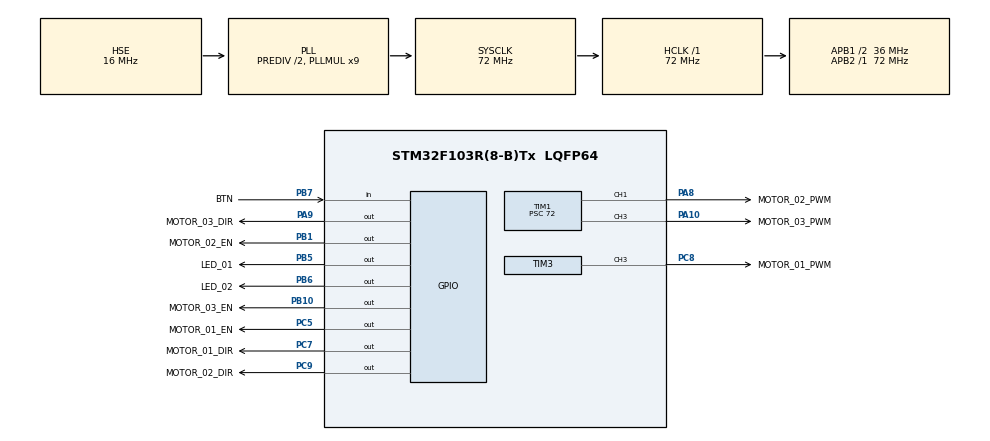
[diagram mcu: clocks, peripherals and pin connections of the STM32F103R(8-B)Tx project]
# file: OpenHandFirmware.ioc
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FREERTOS.Tasks01=hand_control,24,128,hand_control_function,Default,NULL,Dynamic,NULL,NULL;system_health,8,128,system_health_function,Default,NULL,Dynamic,NULL,NULL
FREERTOS.configUSE_NEWLIB_REENTRANT=1
Mcu.Family=STM32F1
Mcu.Name=STM32F103R(8-B)Tx
Mcu.Package=LQFP64
NVIC.PriorityGroup=NVIC_PRIORITYGROUP_4
NVIC.TIM4_IRQn=true\:15\:0\:false\:false\:true\:false\:false\:true\:true
NVIC.TimeBase=TIM4_IRQn
NVIC.TimeBaseIP=TIM4
PA10.GPIO_Label=MOTOR_03_PWM
PA10.Signal=S_TIM1_CH3
PA13.Mode=Serial_Wire
PA13.Signal=SYS_JTMS-SWDIO
PA14.Mode=Serial_Wire
PA14.Signal=SYS_JTCK-SWCLK
PA8.GPIO_Label=MOTOR_02_PWM
PA8.Signal=S_TIM1_CH1
PA9.GPIO_Label=MOTOR_03_DIR
PA9.Signal=GPIO_Output
PB1.GPIO_Label=MOTOR_02_EN
PB1.Signal=GPIO_Output
PB10.GPIO_Label=MOTOR_03_EN
PB10.Signal=GPIO_Output
PB5.GPIO_Label=LED_01
PB5.Signal=GPIO_Output
PB6.GPIO_Label=LED_02
PB6.Signal=GPIO_Output
PB7.GPIO_Label=BTN
PB7.Signal=GPIO_Input
PC5.GPIO_Label=MOTOR_01_EN
PC5.Signal=GPIO_Output
PC7.GPIO_Label=MOTOR_01_DIR
PC7.Signal=GPIO_Output
PC8.GPIO_Label=MOTOR_01_PWM
PC8.Signal=S_TIM3_CH3
PC9.GPIO_Label=MOTOR_02_DIR
PC9.Signal=GPIO_Output
PD0-OSC_IN.Mode=HSE-External-Oscillator
PD0-OSC_IN.Signal=RCC_OSC_IN
PD1-OSC_OUT.Mode=HSE-External-Oscillator
PD1-OSC_OUT.Signal=RCC_OSC_OUT
ProjectManager.HeapSize=0x200
ProjectManager.StackSize=0x400
ProjectManager.TargetToolchain=STM32CubeIDE
RCC.ADCPresc=RCC_ADCPCLK2_DIV6
RCC.AHBFreq_Value=72000000
RCC.APB1CLKDivider=RCC_HCLK_DIV2
RCC.APB1Freq_Value=36000000
RCC.APB1TimFreq_Value=72000000
RCC.APB2Freq_Value=72000000
RCC.APB2TimFreq_Value=72000000
RCC.HCLKFreq_Value=72000000
RCC.HSEDivPLL=RCC_HSE_PREDIV_DIV2
RCC.HSE_VALUE=16000000
RCC.PLLMUL=RCC_PLL_MUL9
RCC.PLLSourceVirtual=RCC_PLLSOURCE_HSE
RCC.SYSCLKFreq_VALUE=72000000
RCC.SYSCLKSource=RCC_SYSCLKSOURCE_PLLCLK
RCC.USBFreq_Value=48000000
RCC.USBPrescaler=RCC_USBCLKSOURCE_PLL_DIV1_5
SH.S_TIM1_CH1.0=TIM1_CH1,PWM Generation1 CH1
SH.S_TIM1_CH3.0=TIM1_CH3,PWM Generation3 CH3
SH.S_TIM3_CH3.0=TIM3_CH3,PWM Generation3 CH3
TIM1.AutoReloadPreload=TIM_AUTORELOAD_PRELOAD_DISABLE
TIM1.Channel-PWM\ Generation1\ CH1=TIM_CHANNEL_1
TIM1.Channel-PWM\ Generation3\ CH3=TIM_CHANNEL_3
TIM1.Period=20-1
TIM1.Prescaler=72
TIM3.AutoReloadPreload=TIM_AUTORELOAD_PRELOAD_DISABLE
TIM3.Channel-PWM\ Generation3\ CH3=TIM_CHANNEL_3
TIM3.Period=20-1
TIM3.Prescaler=72
VP_FREERTOS_VS_CMSIS_V2.Mode=CMSIS_V2
VP_SYS_VS_tim4.Mode=TIM4
board=custom

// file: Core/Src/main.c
/* USER CODE BEGIN Header */
/**
  ******************************************************************************
  * @file           : main.c
  * @brief          : Main program body
  ******************************************************************************
  * @attention
  *
  * Copyright (c) 2024 STMicroelectronics.
  * All rights reserved.
  *
  * This software is licensed under terms that can be found in the LICENSE file
  * in the root directory of this software component.
  * If no LICENSE file comes with this software, it is provided AS-IS.
  *
  ******************************************************************************
  */
/* USER CODE END Header */
#include "main.h"
#include "cmsis_os.h"

/* USER CODE BEGIN Includes */
#include "led/led_e.h"
#include "btn/btn_e.h"
// #include "motor_e.h"...
/* USER CODE END Includes */

TIM_HandleTypeDef htim1;
TIM_HandleTypeDef htim3;

/* Definitions for hand_control */
osThreadId_t hand_controlHandle;
const osThreadAttr_t hand_control_attributes = {
  .name = "hand_control",
  .stack_size = 128 * 4,
  .priority = (osPriority_t) osPriorityNormal,
};
/* Definitions for system_health */
osThreadId_t system_healthHandle;
const osThreadAttr_t system_health_attributes = {
  .name = "system_health",
  .stack_size = 128 * 4,
  .priority = (osPriority_t) osPriorityLow,
};
/* USER CODE BEGIN PV */

// ADC stuff
volatile uint16_t adcResultsDMA[64][8]; // 64 measurements per channel, 8 channels
const int adcChannelCount = sizeof(adcResultsDMA) / sizeof(uint16_t);
volatile int adcConversionComplete = 0; // Set by callback

// Mode handling stuff
uint32_t my_mode = 0; // 0 for button activation, 1 for EMG sensor activation

// Our ADC inputs
uint32_t my_pot_1 = 0;
uint32_t my_pot_2 = 0;
uint32_t my_emg_1 = 0;
uint32_t my_emg_2 = 0;
uint32_t my_batt = 0;
uint32_t my_hall_1 = 0;
uint32_t my_hall_2 = 0;
uint32_t my_hall_3 = 0;

double my_batt_volt = 0;
uint32_t my_emg_1_max = 0;

// Finger hall sensor calibration output:
uint16_t my_calibration[] = {
  2024, 1889,
  2026, 1888,
  2024, 1890,
  2024, 1887,
  2023, 1883,
  2022, 1878,
  2021, 1875,
  2019, 1868,
  2019, 1863,
  2019, 1857,
  2017, 1850,
  2016, 1840,
  2015, 1830,
  2014, 1818,
  2012, 1806,
  2010, 1794,
  2008, 1783,
  2007, 1768,
  2006, 1755,
  2005, 1739,
  2001, 1724,
  2000, 1708,
  1996, 1690,
  1995, 1675,
  1994, 1655,
  1992, 1635,
  1989, 1614,
  1987, 1592,
  1984, 1574,
  1982, 1550,
  1978, 1525,
  1975, 1502,
  1974, 1479,
  1971, 1453,
  1968, 1429,
  1966, 1407,
  1962, 1379,
  1959, 1354,
  1955, 1328,
  1952, 1307,
  1948, 1288,
  1945, 1269,
  1939, 1256,
  1936, 1248,
  1932, 1245,
  1928, 1246,
  1922, 1252,
  1918, 1266,
  1913, 1288,
  1910, 1317,
  1903, 1351,
  1898, 1391,
  1893, 1442,
  1886, 1498,
  1880, 1562,
  1873, 1627,
  1867, 1698,
  1861, 1776,
  1854, 1859,
  1846, 1937,
  1838, 2021,
  1829, 2104,
  1820, 2180,
  1812, 2254,
  1804, 2326,
  1792, 2395,
  1783, 2452,
  1773, 2505,
  1762, 2554,
  1751, 2596,
  1741, 2629,
  1725, 2658,
  1713, 2682,
  1700, 2695,
  1686, 2704,
  1671, 2711,
  1654, 2709,
  1639, 2706,
  1620, 2699,
  1604, 2688,
  1582, 2675,
  1562, 2658,
  1540, 2643,
  1520, 2624,
  1497, 2604,
  1471, 2587,
  1447, 2570,
  1423, 2549,
  1398, 2530,
  1373, 2513,
  1348, 2495,
  1318, 2475,
  1294, 2458,
  1270, 2440,
  1247, 2426,
  1224, 2409,
  1205, 2395,
  1192, 2380,
  1179, 2367,
  1172, 2355,
  1169, 2340,
  1171, 2326,
  1179, 2314,
  1199, 2300,
  1230, 2289,
  1268, 2277,
  1325, 2268,
  1394, 2257,
  1472, 2247,
  1552, 2238,
  1646, 2229,
  1749, 2222,
  1859, 2213,
  1963, 2206,
  2078, 2196,
  2190, 2190,
  2303, 2183,
  2405, 2179,
  2517, 2171,
  2626, 2165,
  2715, 2159,
  2806, 2153,
  2883, 2146,
  2948, 2142,
  2990, 2137,
  3019, 2133,
  3032, 2127,
  3037, 2123,
  3038, 2118,
  3034, 2116,
  3025, 2111,
  3010, 2106,
  2988, 2103,
  2958, 2100,
  2921, 2097,
  2883, 2094,
  2840, 2092,
  2800, 2088,
  2760, 2084,
  2717, 2083,
  2678, 2080,
  2639, 2076,
  2599, 2075,
  2565, 2072,
  2533, 2071,
  2501, 2067,
  2470, 2064,
  2446, 2063,
  2420, 2061,
  2397, 2061,
  2373, 2059,
  2354, 2055,
  2332, 2054,
  2313, 2052,
  2296, 2052,
  2279, 2049,
  2266, 2048,
  2253, 2048,
  2247, 2046,
  2245, 2046,
  2246, 2046,
  2247, 2046,
  2250, 2046,
  2253, 2046,
  2257, 2048,
  2259, 2047,
  2260, 2048,
  2261, 2048,
  2261, 2047
};

/* USER CODE END PV */

void SystemClock_Config(void);
static void MX_GPIO_Init(void);
static void MX_TIM1_Init(void);
static void MX_TIM3_Init(void);
void hand_control_function(void *argument);
void system_health_function(void *argument);

/* USER CODE BEGIN PFP */
void main_f_Init_v(void);
/* USER CODE END PFP */

/* USER CODE BEGIN 0 */

/**
 *  @todo Description
 *  @note Called once during boot
 */
void main_f_Init_v(void)
{
  /* Start all PWM channels */
  HAL_TIM_PWM_Start(&htim3, TIM_CHANNEL_3);  /* Motor 1 */
  HAL_TIM_PWM_Start(&htim1, TIM_CHANNEL_1);  /* Motor 2 */
  HAL_TIM_PWM_Start(&htim1, TIM_CHANNEL_3);  /* Motor 3 */
  //HAL_TIM_PWM_Start(&htim1, TIM_CHANNEL_2);
  //HAL_TIM_PWM_Start(&htim3, TIM_CHANNEL_1);

  // Read user button, if it's high, go to EMG mode
//  if (HAL_GPIO_ReadPin(GPIOB, GPIO_PIN_7) == GPIO_PIN_RESET)
//  {
//    my_mode = 1;
//  }
//  else
//  {
//    my_mode = 0;
//  }
}

/* USER CODE END 0 */

int main(void)
{
  /* USER CODE BEGIN 1 */
  /* https://deepbluembedded.com/stm32-timer-encoder-mode-stm32-rotary-encoder-interfacing/ */
  /* USER CODE END 1 */

  /* MCU Configuration--------------------------------------------------------*/

  /* Reset of all peripherals, Initializes the Flash interface and the Systick. */
  HAL_Init();

  /* Configure the system clock */
  SystemClock_Config();

  /* Initialize all configured peripherals */
  MX_GPIO_Init();
  MX_TIM1_Init();
  MX_TIM3_Init();
  /* USER CODE BEGIN 2 */
  main_f_Init_v();
  /* USER CODE END 2 */

  /* Init scheduler */
  osKernelInitialize();

  /* Create the thread(s) */
  /* creation of hand_control */
  hand_controlHandle = osThreadNew(hand_control_function, NULL, &hand_control_attributes);

  /* creation of system_health */
  system_healthHandle = osThreadNew(system_health_function, NULL, &system_health_attributes);

  /* Start scheduler */
  osKernelStart();

  /* We should never get here as control is now taken by the scheduler */
  /* Infinite loop */

}

void SystemClock_Config(void)
{
  RCC_OscInitTypeDef RCC_OscInitStruct = {0};
  RCC_ClkInitTypeDef RCC_ClkInitStruct = {0};

  /** Initializes the RCC Oscillators according to the specified parameters
  * in the RCC_OscInitTypeDef structure.
  */
  RCC_OscInitStruct.OscillatorType = RCC_OSCILLATORTYPE_HSE;
  RCC_OscInitStruct.HSEState = RCC_HSE_ON;
  RCC_OscInitStruct.HSEPredivValue = RCC_HSE_PREDIV_DIV2;
  RCC_OscInitStruct.HSIState = RCC_HSI_ON;
  RCC_OscInitStruct.PLL.PLLState = RCC_PLL_ON;
  RCC_OscInitStruct.PLL.PLLSource = RCC_PLLSOURCE_HSE;
  RCC_OscInitStruct.PLL.PLLMUL = RCC_PLL_MUL9;
  if (HAL_RCC_OscConfig(&RCC_OscInitStruct) != HAL_OK)
  {
    Error_Handler();
  }

  /** Initializes the CPU, AHB and APB buses clocks
  */
  RCC_ClkInitStruct.ClockType = RCC_CLOCKTYPE_HCLK|RCC_CLOCKTYPE_SYSCLK
                              |RCC_CLOCKTYPE_PCLK1|RCC_CLOCKTYPE_PCLK2;
  RCC_ClkInitStruct.SYSCLKSource = RCC_SYSCLKSOURCE_PLLCLK;
  RCC_ClkInitStruct.AHBCLKDivider = RCC_SYSCLK_DIV1;
  RCC_ClkInitStruct.APB1CLKDivider = RCC_HCLK_DIV2;
  RCC_ClkInitStruct.APB2CLKDivider = RCC_HCLK_DIV1;

  if (HAL_RCC_ClockConfig(&RCC_ClkInitStruct, FLASH_LATENCY_2) != HAL_OK)
  {
    Error_Handler();
  }
}

static void MX_TIM1_Init(void)
{

  TIM_MasterConfigTypeDef sMasterConfig = {0};
  TIM_OC_InitTypeDef sConfigOC = {0};
  TIM_BreakDeadTimeConfigTypeDef sBreakDeadTimeConfig = {0};

  htim1.Instance = TIM1;
  htim1.Init.Prescaler = 72;
  htim1.Init.CounterMode = TIM_COUNTERMODE_UP;
  htim1.Init.Period = 20-1;
  htim1.Init.ClockDivision = TIM_CLOCKDIVISION_DIV1;
  htim1.Init.RepetitionCounter = 0;
  htim1.Init.AutoReloadPreload = TIM_AUTORELOAD_PRELOAD_DISABLE;
  if (HAL_TIM_PWM_Init(&htim1) != HAL_OK)
  {
    Error_Handler();
  }
  sMasterConfig.MasterOutputTrigger = TIM_TRGO_RESET;
  sMasterConfig.MasterSlaveMode = TIM_MASTERSLAVEMODE_DISABLE;
  if (HAL_TIMEx_MasterConfigSynchronization(&htim1, &sMasterConfig) != HAL_OK)
  {
    Error_Handler();
  }
  sConfigOC.OCMode = TIM_OCMODE_PWM1;
  sConfigOC.Pulse = 0;
  sConfigOC.OCPolarity = TIM_OCPOLARITY_HIGH;
  sConfigOC.OCNPolarity = TIM_OCNPOLARITY_HIGH;
  sConfigOC.OCFastMode = TIM_OCFAST_DISABLE;
  sConfigOC.OCIdleState = TIM_OCIDLESTATE_RESET;
  sConfigOC.OCNIdleState = TIM_OCNIDLESTATE_RESET;
  if (HAL_TIM_PWM_ConfigChannel(&htim1, &sConfigOC, TIM_CHANNEL_1) != HAL_OK)
  {
    Error_Handler();
  }
  if (HAL_TIM_PWM_ConfigChannel(&htim1, &sConfigOC, TIM_CHANNEL_3) != HAL_OK)
  {
    Error_Handler();
  }
  sBreakDeadTimeConfig.OffStateRunMode = TIM_OSSR_DISABLE;
  sBreakDeadTimeConfig.OffStateIDLEMode = TIM_OSSI_DISABLE;
  sBreakDeadTimeConfig.LockLevel = TIM_LOCKLEVEL_OFF;
  sBreakDeadTimeConfig.DeadTime = 0;
  sBreakDeadTimeConfig.BreakState = TIM_BREAK_DISABLE;
  sBreakDeadTimeConfig.BreakPolarity = TIM_BREAKPOLARITY_HIGH;
  sBreakDeadTimeConfig.AutomaticOutput = TIM_AUTOMATICOUTPUT_DISABLE;
  if (HAL_TIMEx_ConfigBreakDeadTime(&htim1, &sBreakDeadTimeConfig) != HAL_OK)
  {
    Error_Handler();
  }
  HAL_TIM_MspPostInit(&htim1);

}

static void MX_TIM3_Init(void)
{

  TIM_MasterConfigTypeDef sMasterConfig = {0};
  TIM_OC_InitTypeDef sConfigOC = {0};

  htim3.Instance = TIM3;
  htim3.Init.Prescaler = 72;
  htim3.Init.CounterMode = TIM_COUNTERMODE_UP;
  htim3.Init.Period = 20-1;
  htim3.Init.ClockDivision = TIM_CLOCKDIVISION_DIV1;
  htim3.Init.AutoReloadPreload = TIM_AUTORELOAD_PRELOAD_DISABLE;
  if (HAL_TIM_PWM_Init(&htim3) != HAL_OK)
  {
    Error_Handler();
  }
  sMasterConfig.MasterOutputTrigger = TIM_TRGO_RESET;
  sMasterConfig.MasterSlaveMode = TIM_MASTERSLAVEMODE_DISABLE;
  if (HAL_TIMEx_MasterConfigSynchronization(&htim3, &sMasterConfig) != HAL_OK)
  {
    Error_Handler();
  }
  sConfigOC.OCMode = TIM_OCMODE_PWM1;
  sConfigOC.Pulse = 0;
  sConfigOC.OCPolarity = TIM_OCPOLARITY_HIGH;
  sConfigOC.OCFastMode = TIM_OCFAST_DISABLE;
  if (HAL_TIM_PWM_ConfigChannel(&htim3, &sConfigOC, TIM_CHANNEL_3) != HAL_OK)
  {
    Error_Handler();
  }
  HAL_TIM_MspPostInit(&htim3);

}

static void MX_GPIO_Init(void)
{
  GPIO_InitTypeDef GPIO_InitStruct = {0};

  /* GPIO Ports Clock Enable */
  __HAL_RCC_GPIOD_CLK_ENABLE();
  __HAL_RCC_GPIOC_CLK_ENABLE();
  __HAL_RCC_GPIOB_CLK_ENABLE();
  __HAL_RCC_GPIOA_CLK_ENABLE();

  /*Configure GPIO pin Output Level */
  HAL_GPIO_WritePin(GPIOC, MOTOR_01_EN_Pin|MOTOR_01_DIR_Pin|MOTOR_02_DIR_Pin, GPIO_PIN_RESET);

  /*Configure GPIO pin Output Level */
  HAL_GPIO_WritePin(GPIOB, MOTOR_02_EN_Pin|MOTOR_03_EN_Pin|LED_01_Pin|LED_02_Pin, GPIO_PIN_RESET);

  /*Configure GPIO pin Output Level */
  HAL_GPIO_WritePin(MOTOR_03_DIR_GPIO_Port, MOTOR_03_DIR_Pin, GPIO_PIN_RESET);

  /*Configure GPIO pins : MOTOR_01_EN_Pin MOTOR_01_DIR_Pin MOTOR_02_DIR_Pin */
  GPIO_InitStruct.Pin = MOTOR_01_EN_Pin|MOTOR_01_DIR_Pin|MOTOR_02_DIR_Pin;
  GPIO_InitStruct.Mode = GPIO_MODE_OUTPUT_PP;
  GPIO_InitStruct.Pull = GPIO_NOPULL;
  GPIO_InitStruct.Speed = GPIO_SPEED_FREQ_LOW;
  HAL_GPIO_Init(GPIOC, &GPIO_InitStruct);

  /*Configure GPIO pins : MOTOR_02_EN_Pin MOTOR_03_EN_Pin LED_01_Pin LED_02_Pin */
  GPIO_InitStruct.Pin = MOTOR_02_EN_Pin|MOTOR_03_EN_Pin|LED_01_Pin|LED_02_Pin;
  GPIO_InitStruct.Mode = GPIO_MODE_OUTPUT_PP;
  GPIO_InitStruct.Pull = GPIO_NOPULL;
  GPIO_InitStruct.Speed = GPIO_SPEED_FREQ_LOW;
  HAL_GPIO_Init(GPIOB, &GPIO_InitStruct);

  /*Configure GPIO pin : MOTOR_03_DIR_Pin */
  GPIO_InitStruct.Pin = MOTOR_03_DIR_Pin;
  GPIO_InitStruct.Mode = GPIO_MODE_OUTPUT_PP;
  GPIO_InitStruct.Pull = GPIO_NOPULL;
  GPIO_InitStruct.Speed = GPIO_SPEED_FREQ_LOW;
  HAL_GPIO_Init(MOTOR_03_DIR_GPIO_Port, &GPIO_InitStruct);

  /*Configure GPIO pin : BTN_Pin */
  GPIO_InitStruct.Pin = BTN_Pin;
  GPIO_InitStruct.Mode = GPIO_MODE_INPUT;
  GPIO_InitStruct.Pull = GPIO_NOPULL;
  HAL_GPIO_Init(BTN_GPIO_Port, &GPIO_InitStruct);

}

/* USER CODE BEGIN 4 */

// Called when buffer is completely filled
//void HAL_ADC_ConvCpltCallback(ADC_HandleTypeDef* hadc) {
//  adcConversionComplete = 1;
//}

uint32_t lastTime;
float Input, Output, Setpoint = 0;
float errSum, lastErr;
float kp = 0.2, ki = 0.00, kd = 0.001;

void handle_motor_pid()
{
  /* How long since we last calculated */
  uint32_t now = HAL_GetTick();
  float timeChange = (float)(now - lastTime);

  /* Compute all the working error variables */
  float error = Setpoint - Input;
  errSum += (error * timeChange);
  float dErr = (error - lastErr) / timeChange;

  /*Compute PID Output*/
  Output = kp * error + ki * errSum + kd * dErr;

  /*Remember some variables for next time*/
  lastErr = error;
  lastTime = now;
}
/* USER CODE END 4 */

void hand_control_function(void *argument)
{
  /* USER CODE BEGIN 5 */
  // char my_data[24];
  uint32_t last_10ms = 0;
  //uint32_t i = 0;
  //static uint8_t my_flag = 0;
  /* Infinite loop */
  for(;;)
  {
    /* Here we sould only go over all the driver handle functions... */
    // btn_f_Handle_v();
    // pot_f_Handle_v();
    // emg_f_Handle_v();
    // hall_f_Handle_v();
    // batt_f_Handle_v();
    // motor_f_Handle_v();

    /* All of this should be moved to separate drivers... */
    /* Firstly, ignore everything unless 10ms has passed, and it's our time to work */
    if(HAL_GetTick() - last_10ms > (10-1))
    {
      last_10ms = HAL_GetTick();

      ////////////////////////////////////////////////////////////////////////
      /// Initial handling of ADC inputs /////////////////////////////////////
      ////////////////////////////////////////////////////////////////////////

      // Start ADC reading of all channels, to be stored via DMA - check if it should be done continuously
//      HAL_ADC_Start_DMA(&hadc1, (uint32_t*)adcResultsDMA, adcChannelCount);
      // Wait for that to finish - not necessary I think
      // while(adcConversionComplete == 0) {}
      // adcConversionComplete = 0;
      HAL_GPIO_WritePin(GPIOC, GPIO_PIN_5, GPIO_PIN_SET);  // Motor 1 EN
      HAL_GPIO_WritePin(GPIOB, GPIO_PIN_1, GPIO_PIN_SET);  // Motor 2 EN
      HAL_GPIO_WritePin(GPIOB, GPIO_PIN_10, GPIO_PIN_SET); // Motor 3 EN

      // Store all ADC results in global vars
//      my_pot_1 = adcResultsDMA[0][0];
//      my_pot_2 = adcResultsDMA[0][1];
//      my_emg_1 = adcResultsDMA[0][2];
//      my_emg_2 = adcResultsDMA[0][3];
//      my_batt = adcResultsDMA[0][4];
//      my_hall_1 = adcResultsDMA[0][5];
//      my_hall_2 = adcResultsDMA[0][6];
//      my_hall_3 = adcResultsDMA[0][7];

//      my_batt_volt = ( ( (my_batt / 4096.0) * 3.3 ) * 5.7 ); // 47k and 10k voltage divider -> 5.7 factor

      // Find max of EMG signal
//      my_emg_1_max = 0;
//      for(i = 0; i < 64; i++)
//      {
//        if (adcResultsDMA[i][3] > my_emg_1_max)
//        {
//          my_emg_1_max = adcResultsDMA[i][3];
//        }
//      }
//      my_emg_1 = my_emg_1_max;

      ////////////////////////////////////////////////////////////////////////
      /// Move motors based on button ////////////////////////////////////////
      ////////////////////////////////////////////////////////////////////////

      /* If BTN pressed */
      if (HAL_GPIO_ReadPin(GPIOB, GPIO_PIN_7) == GPIO_PIN_RESET)
      {
    	HAL_GPIO_WritePin(GPIOB, GPIO_PIN_5, GPIO_PIN_SET); /* LED_01 */

        // Close hand
        HAL_GPIO_WritePin(GPIOC, GPIO_PIN_7, GPIO_PIN_SET);  // Motor 1 DIR
        HAL_GPIO_WritePin(GPIOC, GPIO_PIN_9, GPIO_PIN_SET);  // Motor 2 DIR
        HAL_GPIO_WritePin(GPIOA, GPIO_PIN_9, GPIO_PIN_SET);  // Motor 3 DIR
        //HAL_GPIO_WritePin(GPIOB, GPIO_PIN_13, GPIO_PIN_SET);
        //HAL_GPIO_WritePin(GPIOB, GPIO_PIN_15, GPIO_PIN_SET);

        TIM1->CCR1 = (uint16_t)0;  // Motor 2 PWM
        TIM1->CCR3 = (uint16_t)0;  // Motor 3 PWM
        TIM3->CCR3 = (uint16_t)0;  // Motor 1 PWM
        //TIM1->CCR2 = (uint16_t)my_pwm;
        //TIM3->CCR1 = (uint16_t)my_pwm;
        // Also, log current hand state
        //sprintf(my_data, "1\n");
        //CDC_Transmit_FS(my_data, strlen(my_data));
      }
      /* BTN released */
      else
      {
    	HAL_GPIO_WritePin(GPIOB, GPIO_PIN_5, GPIO_PIN_RESET); /* LED_01 */

        // OpenHand™
        HAL_GPIO_WritePin(GPIOC, GPIO_PIN_7, GPIO_PIN_RESET);  // Motor 1 DIR
        HAL_GPIO_WritePin(GPIOC, GPIO_PIN_9, GPIO_PIN_RESET);  // Motor 2 DIR
        HAL_GPIO_WritePin(GPIOA, GPIO_PIN_9, GPIO_PIN_RESET);  // Motor 3 DIR
        //HAL_GPIO_WritePin(GPIOB, GPIO_PIN_13, GPIO_PIN_RESET);
        //HAL_GPIO_WritePin(GPIOB, GPIO_PIN_15, GPIO_PIN_RESET);

        TIM1->CCR1 = (uint16_t)19;  // Motor 2 PWM
        TIM1->CCR3 = (uint16_t)19;  // Motor 3 PWM
        TIM3->CCR3 = (uint16_t)19;  // Motor 1 PWM
        //TIM1->CCR2 = (uint16_t)my_pwm;
        //TIM3->CCR1 = (uint16_t)my_pwm;

        // Also, log current hand state
        //sprintf(my_data, "0\n");
        //CDC_Transmit_FS(my_data, strlen(my_data));
      }

      ////////////////////////////////////////////////////////////////////////
      /// Calibration procedure //////////////////////////////////////////////
      ////////////////////////////////////////////////////////////////////////

      // my_hall = adcResultsDMA[0][5];
      // my_hall_2 = adcResultsDMA[0][6];

      // // If button is pressed, start calibration sequence
      // if(HAL_GPIO_ReadPin(GPIOB, GPIO_PIN_7) == GPIO_PIN_RESET)
      // {
      //   my_flag = 1;
      // }

      // if(my_flag == 0)
      // {
      //   // Log ready message
      //   sprintf(my_data, "Ready!\n");
      //   CDC_Transmit_FS(my_data, strlen(my_data));
      //   // Generally, first move all motors to open position
      //   HAL_GPIO_WritePin(GPIOA, GPIO_PIN_9, GPIO_PIN_RESET);
      //   HAL_GPIO_WritePin(GPIOB, GPIO_PIN_13, GPIO_PIN_RESET);
      //   HAL_GPIO_WritePin(GPIOB, GPIO_PIN_15, GPIO_PIN_RESET);
      //   HAL_GPIO_WritePin(GPIOC, GPIO_PIN_7, GPIO_PIN_RESET);  // Motor 1 DIR
      //   HAL_GPIO_WritePin(GPIOC, GPIO_PIN_9, GPIO_PIN_RESET);
      //   my_pot = 1;
      //   my_pwm = 100.0 - (double)my_pot / 40.96;
      //   TIM1->CCR1 = (uint16_t)my_pwm;
      //   TIM1->CCR2 = (uint16_t)my_pwm;
      //   TIM1->CCR3 = (uint16_t)my_pwm;
      //   TIM3->CCR1 = (uint16_t)my_pwm;
      //   TIM3->CCR3 = (uint16_t)my_pwm;  // Motor 1 PWM
      // }
      // else
      // {
      //   // Log hall sensors...
      //   sprintf(my_data, "%d, %d\n", my_hall, my_hall_2);
      //   CDC_Transmit_FS(my_data, strlen(my_data));
      //   // ... and start moving motor to closed position
      //   HAL_GPIO_WritePin(GPIOA, GPIO_PIN_9, GPIO_PIN_SET);
      //   HAL_GPIO_WritePin(GPIOB, GPIO_PIN_13, GPIO_PIN_SET);
      //   HAL_GPIO_WritePin(GPIOB, GPIO_PIN_15, GPIO_PIN_SET);
      //   HAL_GPIO_WritePin(GPIOC, GPIO_PIN_7, GPIO_PIN_SET);  // Motor 1 DIR
      //   HAL_GPIO_WritePin(GPIOC, GPIO_PIN_9, GPIO_PIN_SET);
      //   my_pot = 1;
      //   my_pwm = (double)my_pot / 40.96;
      //   TIM1->CCR1 = (uint16_t)my_pwm;
      //   TIM1->CCR2 = (uint16_t)my_pwm;
      //   TIM1->CCR3 = (uint16_t)my_pwm;
      //   TIM3->CCR1 = (uint16_t)my_pwm;
      //   TIM3->CCR3 = (uint16_t)my_pwm;  // Motor 1 PWM
      // }

      ////////////////////////////////////////////////////////////////////////
      ///  End of main task //////////////////////////////////////////////////
      ////////////////////////////////////////////////////////////////////////
    }

    /* Wait 1ms to let other tasks do their thing! And for time to pass quicker while we wait for our 10ms! */
    osDelay(1);
  }
  /* In case we exit the infinite loop, terminate cleanly */
  osThreadTerminate(NULL);
  /* USER CODE END 5 */
}

void system_health_function(void *argument)
{
  /* USER CODE BEGIN system_health_function */
  /* Infinite loop */
  for(;;)
  {
    HAL_GPIO_TogglePin(GPIOB, GPIO_PIN_6); /* LED_02 */
    osDelay(1000);
  }
  /* USER CODE END system_health_function */
}

void HAL_TIM_PeriodElapsedCallback(TIM_HandleTypeDef *htim)
{
  if (htim->Instance == TIM4) {
    HAL_IncTick();
  }
}

void Error_Handler(void)
{
  __disable_irq();
  while (1)
  {
  }
}
